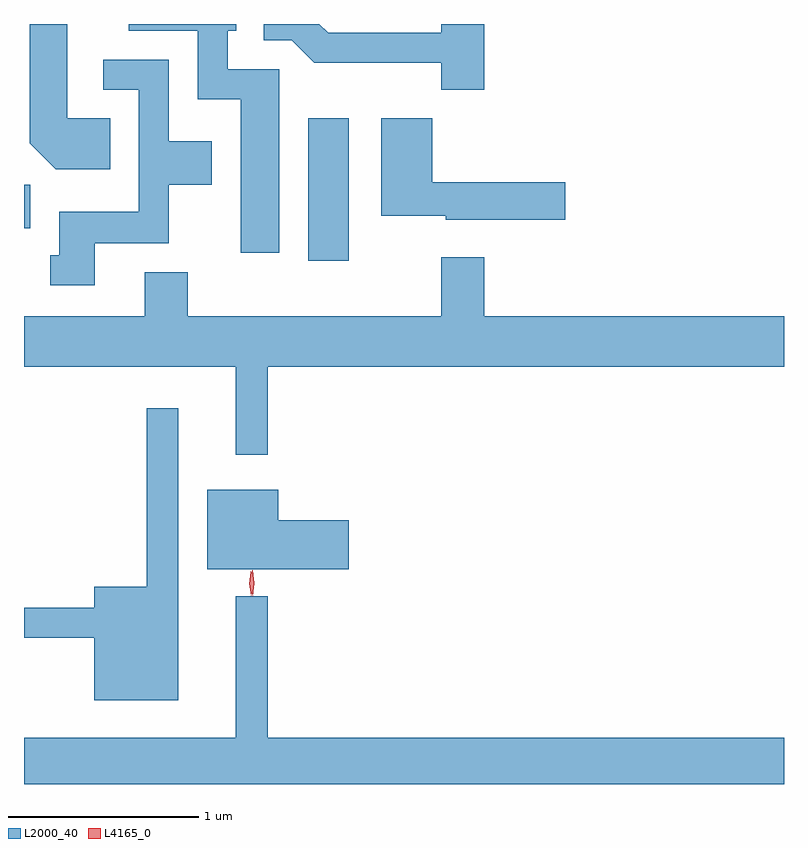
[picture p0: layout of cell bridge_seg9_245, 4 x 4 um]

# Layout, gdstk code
import gdstk
lib = gdstk.Library(unit=1e-6, precision=1e-09)
def R(c, l, rs):  # rectangles x0, y0, x1, y1
    for r in rs: c.add(gdstk.rectangle(r[:2], r[2:], *l))
def P(c, l, *ps):  # polygons
    for p in ps: c.add(gdstk.Polygon(p, *l))
L2000_40 = (2000, 40)
L4165_0 = (4165, 0)

bridge_seg9_245 = lib.new_cell('bridge_seg9_245')
R(bridge_seg9_245, L2000_40, [(1324.541,1952.416,1324.754,1953.164), (1323.046,1952.586,1323.079,1952.814)])
P(bridge_seg9_245, L2000_40, [(1324.389,1953.424),(1324.119,1953.424),(1324.119,1953.626),(1324.164,1953.626),(1324.164,1953.661),(1323.596,1953.661),(1323.596,1953.626),(1323.961,1953.626),(1323.961,1953.266),(1324.186,1953.266),(1324.186,1952.456),(1324.389,1952.456)],
  [(1325.469,1953.661),(1325.241,1953.661),(1325.241,1953.614),(1324.647,1953.614),(1324.6,1953.661),(1324.308,1953.661),(1324.308,1953.576),(1324.454,1953.576),(1324.574,1953.456),(1325.241,1953.456),(1325.241,1953.316),(1325.469,1953.316)],
  [(1323.499,1953.164),(1323.274,1953.164),(1323.274,1953.659),(1323.076,1953.659),(1323.076,1953.034),(1323.214,1952.896),(1323.499,1952.896)],
  [(1323.419,1952.506),(1323.809,1952.506),(1323.809,1952.816),(1324.034,1952.816),(1324.034,1953.044),(1323.809,1953.044),(1323.809,1953.474),(1323.463,1953.474),(1323.463,1953.316),(1323.651,1953.316),(1323.651,1952.674),(1323.231,1952.674),(1323.231,1952.444),(1323.183,1952.444),(1323.183,1952.286),(1323.419,1952.286)],
  [(1325.894,1952.829),(1325.194,1952.829),(1325.194,1953.164),(1324.926,1953.164),(1324.926,1952.651),(1325.266,1952.651),(1325.266,1952.631),(1325.894,1952.631)],
  [(1324.329,1951.856),(1327.046,1951.856),(1327.046,1952.124),(1325.469,1952.124),(1325.469,1952.434),(1325.241,1952.434),(1325.241,1952.124),(1323.909,1952.124),(1323.909,1952.354),(1323.681,1952.354),(1323.681,1952.124),(1323.046,1952.124),(1323.046,1951.856),(1324.161,1951.856),(1324.161,1951.393),(1324.329,1951.393)],
  [(1323.859,1951.638),(1323.691,1951.638),(1323.691,1950.699),(1323.416,1950.699),(1323.416,1950.589),(1323.046,1950.589),(1323.046,1950.431),(1323.416,1950.431),(1323.416,1950.101),(1323.859,1950.101)],
  [(1324.754,1951.049),(1324.384,1951.049),(1324.384,1951.209),(1324.011,1951.209),(1324.011,1950.791),(1324.754,1950.791)],
  [(1327.046,1949.904),(1324.329,1949.904),(1324.329,1950.648),(1324.161,1950.648),(1324.161,1949.904),(1323.046,1949.904),(1323.046,1949.661),(1327.046,1949.661)])
P(bridge_seg9_245, L4165_0, [(1324.241,1950.653),(1324.241,1950.654),(1324.231,1950.716),(1324.24,1950.779),(1324.24,1950.78),(1324.241,1950.779),(1324.251,1950.716),(1324.242,1950.654)],
  [(1324.249,1950.65),(1324.24,1950.718),(1324.248,1950.785),(1324.249,1950.786),(1324.25,1950.785),(1324.259,1950.718),(1324.25,1950.65),(1324.25,1950.65)])

lib.write_gds('bridge_seg9_245.gds')
